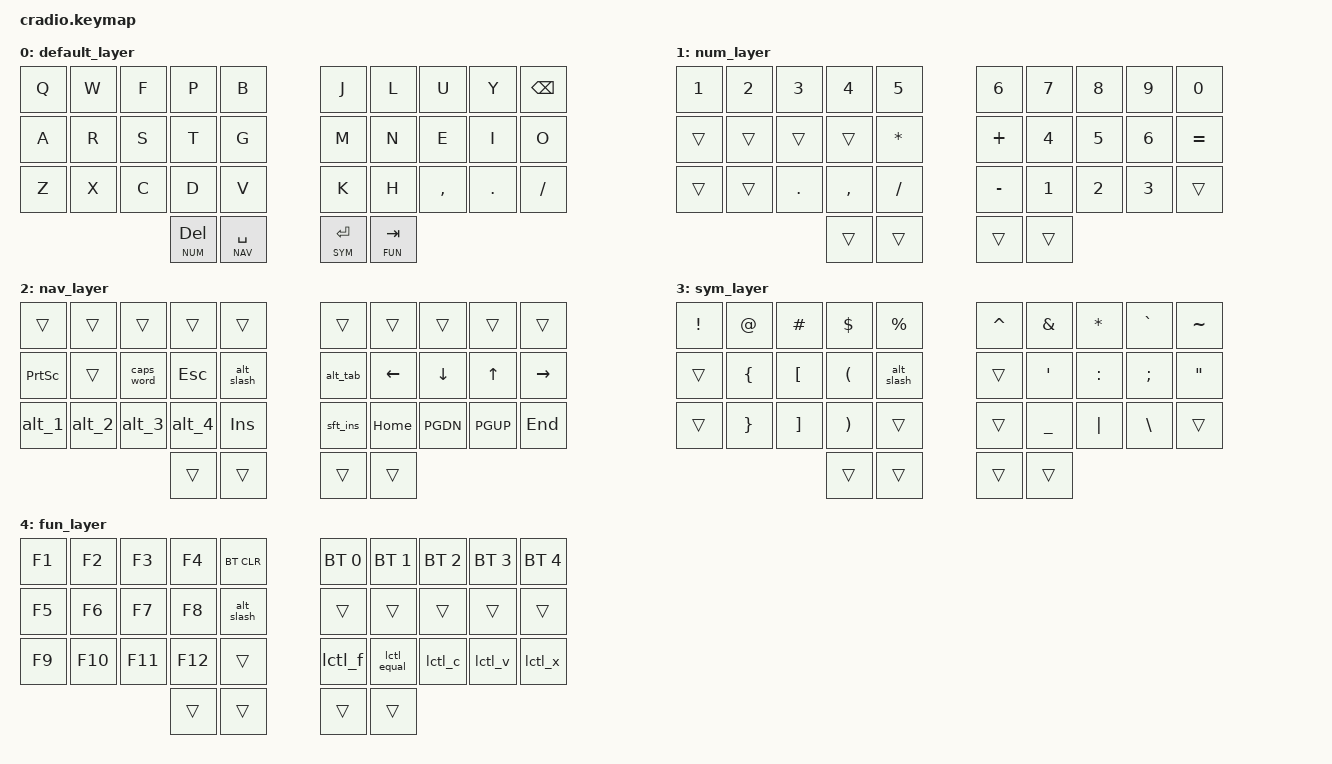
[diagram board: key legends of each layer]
#include <behaviors.dtsi>
#include <dt-bindings/zmk/keys.h>
#include <dt-bindings/zmk/bt.h>

#define default 0
#define NUM 1
#define NAV 2
#define SYM 3
#define FUN 4

/ {
    // ========= CUSTOM MACROS / COMBOS =========
    behaviors {
        // ALT + /
        alt_slash: alt_slash {
            compatible = "zmk,behavior-macro";
            label = "ALT_SLASH";
            #binding-cells = <0>;
            bindings = <&kp LALT &kp SLASH>;
        };

        // ALT + TAB
        alt_tab: alt_tab {
            compatible = "zmk,behavior-macro";
            label = "ALT_TAB";
            #binding-cells = <0>;
            bindings = <&kp LALT &kp TAB>;
        };

        // ALT + number row
        alt_1: alt_1 {
            compatible = "zmk,behavior-macro";
            label = "ALT_1";
            #binding-cells = <0>;
            bindings = <&kp LALT &kp 1>;
        };
        alt_2: alt_2 {
            compatible = "zmk,behavior-macro";
            label = "ALT_2";
            #binding-cells = <0>;
            bindings = <&kp LALT &kp 2>;
        };
        alt_3: alt_3 {
            compatible = "zmk,behavior-macro";
            label = "ALT_3";
            #binding-cells = <0>;
            bindings = <&kp LALT &kp 3>;
        };
        alt_4: alt_4 {
            compatible = "zmk,behavior-macro";
            label = "ALT_4";
            #binding-cells = <0>;
            bindings = <&kp LALT &kp 4>;
        };

        // Shift + Insert
        sft_ins: sft_ins {
            compatible = "zmk,behavior-macro";
            label = "SHIFT_INS";
            #binding-cells = <0>;
            bindings = <&kp LSHIFT &kp INS>;
        };

        // Ctrl combos
        lctl_f: lctl_f {
            compatible = "zmk,behavior-macro";
            label = "LCTL_F";
            #binding-cells = <0>;
            bindings = <&kp LCTRL &kp F>;
        };

        lctl_equal: lctl_equal {
            compatible = "zmk,behavior-macro";
            label = "LCTL_EQUAL";
            #binding-cells = <0>;
            bindings = <&kp LCTRL &kp EQUAL>;
        };

        lctl_c: lctl_c {
            compatible = "zmk,behavior-macro";
            label = "LCTL_C";
            #binding-cells = <0>;
            bindings = <&kp LCTRL &kp C>;
        };

        lctl_v: lctl_v {
            compatible = "zmk,behavior-macro";
            label = "LCTL_V";
            #binding-cells = <0>;
            bindings = <&kp LCTRL &kp V>;
        };

        lctl_x: lctl_x {
            compatible = "zmk,behavior-macro";
            label = "LCTL_X";
            #binding-cells = <0>;
            bindings = <&kp LCTRL &kp X>;
        };
    };

  keymap {
        compatible = "zmk,keymap";

        // ========= LAYER 0: Colemak-DH =========
        default_layer {
            bindings = <
                &kp Q   &kp W   &kp F   &kp P         &kp B           &kp J   &kp L   &kp U     &kp Y   &kp BSPC
                &kp A   &kp R   &kp S   &kp T         &kp G           &kp M   &kp N   &kp E     &kp I   &kp O
                &kp Z   &kp X   &kp C   &kp D         &kp V           &kp K   &kp H   &kp COMMA &kp DOT &kp SLASH
                                        &lt NUM DEL   &lt NAV SPACE   &lt SYM ENTER   &lt FUN TAB
            >;
        };

        // ========= LAYER 1: Numbers =========
        num_layer {
            bindings = <
                &kp 1   &kp 2   &kp 3   &kp 4     &kp 5        &kp 6     &kp 7   &kp 8   &kp 9   &kp 0
                &trans  &trans  &trans  &trans    &kp ASTERISK &kp PLUS  &kp 4   &kp 5   &kp 6   &kp EQUAL
                &trans  &trans  &kp DOT &kp COMMA &kp SLASH    &kp MINUS &kp 1   &kp 2   &kp 3   &trans
                                        &trans    &trans       &trans    &trans
            >;
        };

        // ========= LAYER 2: Navigation =========
        nav_layer {
            bindings = <
                &trans    &trans   &trans     &trans   &trans     &trans   &trans   &trans   &trans   &trans
                &kp PSCRN &trans   &caps_word &kp ESC  &alt_slash &alt_tab &kp LEFT &kp DOWN &kp UP   &kp RIGHT
                &alt_1    &alt_2   &alt_3     &alt_4   &kp INS    &sft_ins &kp HOME &kp PGDN &kp PGUP &kp END
                                              &trans   &trans     &trans   &trans
            >;
        };

        // ========= LAYER 3: Symbols =========
        sym_layer {
            bindings = <
                &kp EXCL &kp AT   &kp HASH  &kp DLLR   &kp PERCENT   &kp CARET &kp AMPS  &kp ASTERISK &kp GRAVE  &kp TILDE
                &trans   &kp LBRC &kp LBKT  &kp LPAR   &alt_slash    &trans    &kp QUOT  &kp COLON    &kp SEMI   &kp DQT
                &trans   &kp RBRC &kp RBKT  &kp RPAR   &trans        &trans    &kp UNDER &kp PIPE     &kp BSLH   &trans
                                            &trans     &trans        &trans    &trans
            >;
        };

        // ========= LAYER 4: Function =========
        fun_layer {
            bindings = <
                &kp F1  &kp F2   &kp F3   &kp F4   &bt BT_CLR  &bt BT_SEL 0  &bt BT_SEL 1  &bt BT_SEL 2  &bt BT_SEL 3  &bt BT_SEL 4
                &kp F5  &kp F6   &kp F7   &kp F8   &alt_slash  &trans        &trans        &trans        &trans        &trans
                &kp F9  &kp F10  &kp F11  &kp F12  &trans      &lctl_f       &lctl_equal   &lctl_c       &lctl_v       &lctl_x
                                          &trans   &trans      &trans        &trans
            >;
        };
    };
};
